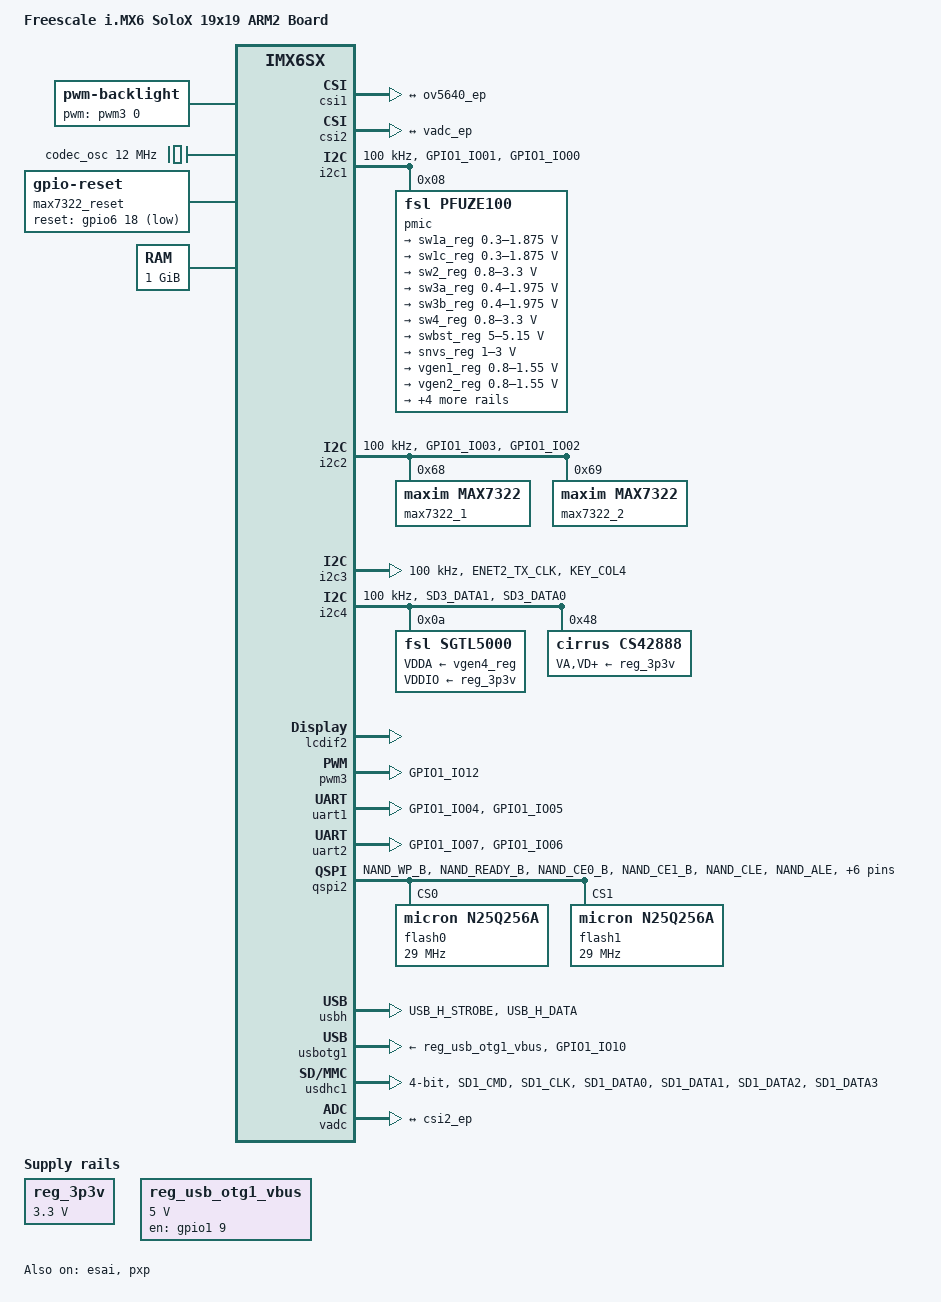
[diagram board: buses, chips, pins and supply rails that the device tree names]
/*
 * Copyright (C) 2014 Freescale Semiconductor, Inc.
 *
 * This program is free software; you can redistribute it and/or modify
 * it under the terms of the GNU General Public License version 2 as
 * published by the Free Software Foundation.
 */

/dts-v1/;

#include "imx6sx.dtsi"

/ {
	model = "Freescale i.MX6 SoloX 19x19 ARM2 Board";
	compatible = "fsl,imx6sx-19x19-arm2", "fsl,imx6sx";

	backlight {
		compatible = "pwm-backlight";
		pwms = <&pwm3 0 5000000>;
		brightness-levels = <0 4 8 16 32 64 128 255>;
		default-brightness-level = <6>;
	};

	hannstar_cabc {
		compatible = "hannstar,cabc";

		lvds0 {
			gpios = <&gpio2 16 GPIO_ACTIVE_HIGH>;
		};
	};

	clocks {
		codec_osc: codec_osc {
			#clock-cells = <0>;
			compatible = "fixed-clock";
			clock-frequency = <12000000>;
		};
	};

	max7322_reset: max7322-reset {
		compatible = "gpio-reset";
		reset-gpios = <&gpio6 18 GPIO_ACTIVE_LOW>;
		reset-delay-us = <1>;
		#reset-cells = <0>;
	};

	pxp_v4l2_out {
		compatible = "fsl,imx6sx-pxp-v4l2", "fsl,imx6sl-pxp-v4l2";
		status = "okay";
	};

	regulators {
		compatible = "simple-bus";

		reg_3p3v: 3p3v {
			compatible = "regulator-fixed";
			regulator-name = "3P3V";
			regulator-min-microvolt = <3300000>;
			regulator-max-microvolt = <3300000>;
			regulator-always-on;
		};

		reg_usb_otg1_vbus: usb_otg1_vbus {
			compatible = "regulator-fixed";
			regulator-name = "usb_otg1_vbus";
			regulator-min-microvolt = <5000000>;
			regulator-max-microvolt = <5000000>;
			gpio = <&gpio1 9 0>;
			enable-active-high;
		};
	};

	memory {
		reg = <0x80000000 0x40000000>;
	};

	sound-cs42888 {
		compatible = "fsl,imx6-sabreauto-cs42888",
				"fsl,imx-audio-cs42888";
		model = "imx-cs42888";
		esai-controller = <&esai>;
		asrc-controller = <&asrc>;
		audio-codec = <&cs42888>;
	};
};

&esai {
	pinctrl-names = "default";
	pinctrl-0 = <&pinctrl_esai_1>;
	status = "okay";
};

&csi1 {
	status = "okay";

	port {
		csi1_ep: endpoint {
			remote-endpoint = <&ov5640_ep>;
		};
	};
};

&csi2 {
	status = "okay";
	port {
		csi2_ep: endpoint {
			remote-endpoint = <&vadc_ep>;
		};
	};
};

&cpu0 {
	operating-points = <
		/* kHz    uV */
		996000  1275000
		792000  1175000
		396000  1075000
		198000	975000
		>;
	fsl,soc-operating-points = <
		/* ARM kHz      SOC uV */
		996000	1175000
		792000	1175000
		396000	1175000
		198000	1175000
	>;
	arm-supply = <&sw1a_reg>;
	soc-supply = <&sw1c_reg>;
};

&fec1 {
	pinctrl-names = "default";
	pinctrl-0 = <&pinctrl_enet1_1>;
	phy-mode = "rgmii";
	phy-handle = <&ethphy1>;
	pinctrl-assert-gpios = <&max7322_1 0 GPIO_ACTIVE_HIGH>;
	fsl,magic-packet;
	status = "disabled";

	mdio {
		#address-cells = <1>;
		#size-cells = <0>;

		ethphy0: ethernet-phy@0 {
			compatible = "ethernet-phy-ieee802.3-c22";
			reg = <0>;
		};

		ethphy1: ethernet-phy@1 {
			compatible = "ethernet-phy-ieee802.3-c22";
			reg = <1>;
		};
	};
};

&fec2 {
	pinctrl-names = "default";
	pinctrl-0 = <&pinctrl_enet2_1>;
	phy-mode = "rgmii";
	phy-handle = <&ethphy0>;
	pinctrl-assert-gpios = <&max7322_2 0 GPIO_ACTIVE_HIGH>;
	fsl,magic-packet;
	status = "disabled";
};

&i2c1 {
	clock-frequency = <100000>;
	pinctrl-names = "default";
	pinctrl-0 = <&pinctrl_i2c1_1>;
	status = "okay";

	pmic: pfuze100@08 {
		compatible = "fsl,pfuze100";
		reg = <0x08>;

		regulators {
			sw1a_reg: sw1ab {
				regulator-min-microvolt = <300000>;
				regulator-max-microvolt = <1875000>;
				regulator-boot-on;
				regulator-always-on;
				regulator-ramp-delay = <6250>;
			};

			sw1c_reg: sw1c {
				regulator-min-microvolt = <300000>;
				regulator-max-microvolt = <1875000>;
				regulator-boot-on;
				regulator-always-on;
				regulator-ramp-delay = <6250>;
			};

			sw2_reg: sw2 {
				regulator-min-microvolt = <800000>;
				regulator-max-microvolt = <3300000>;
				regulator-boot-on;
				regulator-always-on;
			};

			sw3a_reg: sw3a {
				regulator-min-microvolt = <400000>;
				regulator-max-microvolt = <1975000>;
				regulator-boot-on;
				regulator-always-on;
			};

			sw3b_reg: sw3b {
				regulator-min-microvolt = <400000>;
				regulator-max-microvolt = <1975000>;
				regulator-boot-on;
				regulator-always-on;
			};

			sw4_reg: sw4 {
				regulator-min-microvolt = <800000>;
				regulator-max-microvolt = <3300000>;
			};

			swbst_reg: swbst {
				regulator-min-microvolt = <5000000>;
				regulator-max-microvolt = <5150000>;
			};

			snvs_reg: vsnvs {
				regulator-min-microvolt = <1000000>;
				regulator-max-microvolt = <3000000>;
				regulator-boot-on;
				regulator-always-on;
			};

			vref_reg: vrefddr {
				regulator-boot-on;
				regulator-always-on;
			};

			vgen1_reg: vgen1 {
				regulator-min-microvolt = <800000>;
				regulator-max-microvolt = <1550000>;
			};

			vgen2_reg: vgen2 {
				regulator-min-microvolt = <800000>;
				regulator-max-microvolt = <1550000>;
			};

			vgen3_reg: vgen3 {
				regulator-min-microvolt = <1800000>;
				regulator-max-microvolt = <3300000>;
				regulator-always-on;
			};

			vgen4_reg: vgen4 {
				regulator-min-microvolt = <1800000>;
				regulator-max-microvolt = <3300000>;
				regulator-always-on;
			};

			vgen5_reg: vgen5 {
				regulator-min-microvolt = <1800000>;
				regulator-max-microvolt = <3300000>;
				regulator-always-on;
			};

			vgen6_reg: vgen6 {
				regulator-min-microvolt = <1800000>;
				regulator-max-microvolt = <3300000>;
				regulator-always-on;
			};
		};
	};
};

&i2c2 {
	clock-frequency = <100000>;
	pinctrl-names = "default";
	pinctrl-0 = <&pinctrl_i2c2_1>;
	status = "okay";

	max7322_1: gpio@68 {
		compatible = "maxim,max7322";
		reg = <0x68>;
		gpio-controller;
		#gpio-cells = <2>;
		resets = <&max7322_reset>;
	};

	max7322_2: gpio@69 {
		compatible = "maxim,max7322";
		reg = <0x69>;
		gpio-controller;
		#gpio-cells = <2>;
		resets = <&max7322_reset>;
	};

	ov5640: ov5640@3c {
		compatible = "ovti,ov5640";
		reg = <0x3c>;
		pinctrl-names = "default";
		pinctrl-0 = <&pinctrl_csi_1>;
		clocks = <&clks IMX6SX_CLK_CSI>;
		clock-names = "csi_mclk";
		AVDD-supply = <&vgen3_reg>;  /* 2.8v */
		DVDD-supply = <&vgen2_reg>;  /* 1.5v*/
		pwn-gpios = <&gpio3 26 1>;
		rst-gpios = <&gpio3 25 0>;
		csi_id = <0>;
		mclk = <24000000>;
		mclk_source = <0>;
		status = "disabled";
		port {
			ov5640_ep: endpoint {
				remote-endpoint = <&csi1_ep>;
			};
		};
	};
};

&i2c3 {
	clock-frequency = <100000>;
	pinctrl-names = "default";
	pinctrl-0 = <&pinctrl_i2c3_1>;
	status = "okay";
};

&i2c4 {
	clock-frequency = <100000>;
	pinctrl-names = "default";
	pinctrl-0 = <&pinctrl_i2c4_2>;
	status = "okay";

	sgtl5000: sgtl5000@0a {
		compatible = "fsl,sgtl5000";
		reg = <0x0a>;
		clocks = <&codec_osc>;
		VDDA-supply = <&vgen4_reg>;
		VDDIO-supply = <&reg_3p3v>;
	};

	cs42888: cs42888@048 {
		compatible = "cirrus,cs42888";
		reg = <0x048>;
		clocks = <&clks IMX6SX_CLK_ESAI_EXTAL>;
		clock-names = "mclk";
		VA-supply = <&reg_3p3v>;
		VD-supply = <&reg_3p3v>;
		VLS-supply = <&reg_3p3v>;
		VLC-supply = <&reg_3p3v>;
	};
};

&iomuxc {
	pinctrl-names = "default";
	pinctrl-0 = <&pinctrl_hog_1>;

	hog {
		pinctrl_hog_1: hoggrp-1 {
			fsl,pins = <
				MX6SX_PAD_SD4_DATA4__GPIO6_IO_18     0x1b0b0
				MX6SX_PAD_KEY_ROW1__GPIO2_IO_16      0x1b0b0
				MX6SX_PAD_GPIO1_IO13__WDOG1_WDOG_ANY 0x10b0
			 >;
		};
	};
};

&lcdif1 {
	pinctrl-names = "default";
	pinctrl-0 = <&pinctrl_lcdif_dat_0
		     &pinctrl_lcdif_ctrl_0>;
	display = <&display0>;
	status = "disabled";

	display0: display {
		bits-per-pixel = <16>;
		bus-width = <24>;

		display-timings {
			native-mode = <&timing0>;
			timing0: timing0 {
				clock-frequency = <33500000>;
				hactive = <800>;
				vactive = <480>;
				hback-porch = <89>;
				hfront-porch = <164>;
				vback-porch = <23>;
				vfront-porch = <10>;
				hsync-len = <10>;
				vsync-len = <10>;
				hsync-active = <0>;
				vsync-active = <0>;
				de-active = <1>;
				pixelclk-active = <0>;
			};
		};
	};
};

&lcdif2 {
	display = <&display1>;
	disp-dev = "ldb";
	status = "okay";

	display1: display {
		bits-per-pixel = <16>;
		bus-width = <18>;
	};
};

&pwm3 {
	pinctrl-names = "default";
	pinctrl-0 = <&pinctrl_pwm3_0>;
	status = "okay";
};

&pxp {
	status = "okay";
};

&sai1 {
	pinctrl-names = "default";
	pinctrl-0 = <&pinctrl_sai1_1>;
	status = "disabled";
};

&uart1 {
	pinctrl-names = "default";
	pinctrl-0 = <&pinctrl_uart1_1>;
	status = "okay";
};

&uart2 {
	pinctrl-names = "default";
	pinctrl-0 = <&pinctrl_uart2_1>;
	status = "okay";
};

&qspi2 {
	pinctrl-names = "default";
	pinctrl-0 = <&pinctrl_qspi2_1>;
	status = "okay";
	ddrsmp=<2>;

	flash0: n25q256a@0 {
		#address-cells = <1>;
		#size-cells = <1>;
		compatible = "micron,n25q256a";
		spi-max-frequency = <29000000>;
		reg = <0>;
	};

	flash1: n25q256a@1 {
		#address-cells = <1>;
		#size-cells = <1>;
		compatible = "micron,n25q256a";
		spi-max-frequency = <29000000>;
		reg = <1>;
	};
};

&usbh {
	pinctrl-names = "idle", "active";
	pinctrl-0 = <&pinctrl_usbh_1>;
	pinctrl-1 = <&pinctrl_usbh_2>;
	osc-clkgate-delay = <0x3>;
	pad-supply = <&vgen1_reg>;
	status = "okay";
};

&usbotg1 {
	vbus-supply = <&reg_usb_otg1_vbus>;
	pinctrl-names = "default";
	pinctrl-0 = <&pinctrl_usbotg1_1>;
	disable-over-current;
	srp-disable;
	hnp-disable;
	adp-disable;
	status = "okay";
};

&usdhc1 {
	pinctrl-names = "default";
	pinctrl-0 = <&pinctrl_usdhc1_1>;
	bus-width = <4>;
	keep-power-in-suspend;
	enable-sdio-wakeup;
	no-1-8-v;
	status = "okay";
};

&weim {
	pinctrl-names = "default";
	pinctrl-0 = <&pinctrl_weim_nor_1 &pinctrl_weim_cs0_1>;
	#address-cells = <2>;
	#size-cells = <1>;
	ranges = <0 0 0x50000000 0x08000000>;
	status = "disabled"; /* pin conflict with qspi, nand and lcd1 */

	nor@0,0 {
		compatible = "cfi-flash";
		reg = <0 0 0x02000000>;
		#address-cells = <1>;
		#size-cells = <1>;
		bank-width = <2>;
		fsl,weim-cs-timing = <0x00610081 0x00000001 0x1c022000
				0x0000c000 0x1404a38e 0x00000000>;
	};
};

&vadc {
	vadc_in = <0>;
	csi_id = <1>;
	status = "okay";
	port {
		vadc_ep: endpoint {
			remote-endpoint = <&csi2_ep>;
		};
	};
};

&iomuxc {
	audmux {
		pinctrl_audmux_1: audmuxgrp-1 {
			fsl,pins = <
				MX6SX_PAD_CSI_DATA00__AUDMUX_AUD6_TXC   0x130B0
				MX6SX_PAD_CSI_DATA01__AUDMUX_AUD6_TXFS  0x130B0
				MX6SX_PAD_CSI_HSYNC__AUDMUX_AUD6_TXD    0x120B0
				MX6SX_PAD_CSI_VSYNC__AUDMUX_AUD6_RXD    0x130B0
				MX6SX_PAD_CSI_PIXCLK__AUDMUX_MCLK       0x130B0
			>;
		};

		pinctrl_audmux_2: audmuxgrp-2 {
			fsl,pins = <
				MX6SX_PAD_ENET1_COL__AUDMUX_AUD4_TXC 	 0x130b0
				MX6SX_PAD_ENET1_CRS__AUDMUX_AUD4_TXD     0x130b0
				MX6SX_PAD_ENET1_RX_CLK__AUDMUX_AUD4_TXFS 0x130b0
				MX6SX_PAD_ENET1_TX_CLK__AUDMUX_AUD4_RXD  0x130b0
			>;
		};
	};

	ecspi4 {
		pinctrl_ecspi4_cs_1: ecspi4_cs_grp-1 {
			fsl,pins = <
				MX6SX_PAD_SD3_DATA2__GPIO7_IO_4  0x80000000
			>;
		};

		pinctrl_ecspi4_1: ecspi4grp-1 {
			fsl,pins = <
				MX6SX_PAD_SD3_DATA3__ECSPI4_MISO 0x100b1
				MX6SX_PAD_SD3_CMD__ECSPI4_MOSI   0x100b1
				MX6SX_PAD_SD3_CLK__ECSPI4_SCLK   0x100b1
			>;
		};
	};

	canfd1 {
		pinctrl_canfd1_1: canfd1grp-1 {
			fsl,pins = <
				MX6SX_PAD_QSPI1B_DQS__CANFD_TX1		0x1b0b0
				MX6SX_PAD_QSPI1A_SS1_B__CANFD_RX1	0x1b0b0
			>;
		};
	};

	canfd2 {
		pinctrl_canfd2_1: canfd2grp-1 {
			fsl,pins = <
				MX6SX_PAD_QSPI1B_SS1_B__CANFD_RX2	0x1b0b0
				MX6SX_PAD_QSPI1A_DQS__CANFD_TX2		0x1b0b0
			>;
		};
	};

	csi {
		pinctrl_csi_0: csigrp-0 {
			fsl,pins = <
				MX6SX_PAD_LCD1_DATA07__CSI1_MCLK	0x110b0
				MX6SX_PAD_LCD1_DATA06__CSI1_PIXCLK	0x110b0
				MX6SX_PAD_LCD1_DATA04__CSI1_VSYNC	0x110b0
				MX6SX_PAD_LCD1_DATA05__CSI1_HSYNC	0x110b0
				MX6SX_PAD_LCD1_DATA17__CSI1_DATA_0	0x110b0
				MX6SX_PAD_LCD1_DATA16__CSI1_DATA_1	0x110b0
				MX6SX_PAD_LCD1_DATA15__CSI1_DATA_2	0x110b0
				MX6SX_PAD_LCD1_DATA14__CSI1_DATA_3	0x110b0
				MX6SX_PAD_LCD1_DATA13__CSI1_DATA_4	0x110b0
				MX6SX_PAD_LCD1_DATA12__CSI1_DATA_5	0x110b0
				MX6SX_PAD_LCD1_DATA11__CSI1_DATA_6	0x110b0
				MX6SX_PAD_LCD1_DATA10__CSI1_DATA_7	0x110b0
				MX6SX_PAD_LCD1_DATA09__CSI1_DATA_8	0x110b0
				MX6SX_PAD_LCD1_DATA08__CSI1_DATA_9	0x110b0
				MX6SX_PAD_LCD1_RESET__GPIO3_IO_27	0x80000000
				MX6SX_PAD_LCD1_VSYNC__GPIO3_IO_28	0x80000000
			>;
		};

		pinctrl_csi_1: csigrp-1 {
			fsl,pins = <
				MX6SX_PAD_CSI_MCLK__CSI1_MCLK		0x110b0
				MX6SX_PAD_CSI_PIXCLK__CSI1_PIXCLK	0x110b0
				MX6SX_PAD_CSI_VSYNC__CSI1_VSYNC		0x110b0
				MX6SX_PAD_CSI_HSYNC__CSI1_HSYNC		0x110b0
				MX6SX_PAD_CSI_DATA00__CSI1_DATA_2	0x110b0
				MX6SX_PAD_CSI_DATA01__CSI1_DATA_3	0x110b0
				MX6SX_PAD_CSI_DATA02__CSI1_DATA_4	0x110b0
				MX6SX_PAD_CSI_DATA03__CSI1_DATA_5	0x110b0
				MX6SX_PAD_CSI_DATA04__CSI1_DATA_6	0x110b0
				MX6SX_PAD_CSI_DATA05__CSI1_DATA_7	0x110b0
				MX6SX_PAD_CSI_DATA06__CSI1_DATA_8	0x110b0
				MX6SX_PAD_CSI_DATA07__CSI1_DATA_9	0x110b0

				MX6SX_PAD_LCD1_ENABLE__GPIO3_IO_25	0x80000000
				MX6SX_PAD_LCD1_HSYNC__GPIO3_IO_26	0x80000000
			>;
		};
	};

	enet1 {
		pinctrl_enet1_1: enet1grp-1 {
			fsl,pins = <
				MX6SX_PAD_ENET1_MDIO__ENET1_MDIO        0xa0b1
				MX6SX_PAD_ENET1_MDC__ENET1_MDC          0xa0b1
				MX6SX_PAD_RGMII1_TXC__ENET1_RGMII_TXC   0xa0b9
				MX6SX_PAD_RGMII1_TD0__ENET1_TX_DATA_0   0xa0b1
				MX6SX_PAD_RGMII1_TD1__ENET1_TX_DATA_1   0xa0b1
				MX6SX_PAD_RGMII1_TD2__ENET1_TX_DATA_2   0xa0b1
				MX6SX_PAD_RGMII1_TD3__ENET1_TX_DATA_3   0xa0b1
				MX6SX_PAD_RGMII1_TX_CTL__ENET1_TX_EN    0xa0b1
				MX6SX_PAD_RGMII1_RXC__ENET1_RX_CLK      0x3081
				MX6SX_PAD_RGMII1_RD0__ENET1_RX_DATA_0   0x3081
				MX6SX_PAD_RGMII1_RD1__ENET1_RX_DATA_1   0x3081
				MX6SX_PAD_RGMII1_RD2__ENET1_RX_DATA_2   0x3081
				MX6SX_PAD_RGMII1_RD3__ENET1_RX_DATA_3   0x3081
				MX6SX_PAD_RGMII1_RX_CTL__ENET1_RX_EN    0x3081
			>;
		};

		pinctrl_enet1_clkout_1: enet1_clkoutgrp-1 {
			fsl,pins = <
				MX6SX_PAD_ENET2_RX_CLK__ENET2_REF_CLK_25M	0x91
			>;
		};
	};

	enet2 {
		pinctrl_enet2_1: enet2grp-1 {
			fsl,pins = <
				MX6SX_PAD_RGMII2_TXC__ENET2_RGMII_TXC   0xa0b9
				MX6SX_PAD_RGMII2_TD0__ENET2_TX_DATA_0   0xa0b1
				MX6SX_PAD_RGMII2_TD1__ENET2_TX_DATA_1   0xa0b1
				MX6SX_PAD_RGMII2_TD2__ENET2_TX_DATA_2   0xa0b1
				MX6SX_PAD_RGMII2_TD3__ENET2_TX_DATA_3   0xa0b1
				MX6SX_PAD_RGMII2_TX_CTL__ENET2_TX_EN    0xa0b1
				MX6SX_PAD_RGMII2_RXC__ENET2_RX_CLK      0x3081
				MX6SX_PAD_RGMII2_RD0__ENET2_RX_DATA_0   0x3081
				MX6SX_PAD_RGMII2_RD1__ENET2_RX_DATA_1   0x3081
				MX6SX_PAD_RGMII2_RD2__ENET2_RX_DATA_2   0x3081
				MX6SX_PAD_RGMII2_RD3__ENET2_RX_DATA_3   0x3081
				MX6SX_PAD_RGMII2_RX_CTL__ENET2_RX_EN    0x3081
			>;
		};
	};

	esai {
		pinctrl_esai_1: esaigrp-1 {
			fsl,pins = <
				MX6SX_PAD_CSI_MCLK__ESAI_TX_HF_CLK  0x1b030
				MX6SX_PAD_CSI_DATA00__ESAI_TX_CLK   0x1b030
				MX6SX_PAD_CSI_DATA01__ESAI_TX_FS    0x1b030
				MX6SX_PAD_CSI_HSYNC__ESAI_TX0       0x1b030
				MX6SX_PAD_CSI_DATA04__ESAI_TX1      0x1b030
				MX6SX_PAD_CSI_DATA06__ESAI_TX2_RX3  0x1b030
				MX6SX_PAD_CSI_DATA07__ESAI_TX3_RX2  0x1b030
				MX6SX_PAD_CSI_DATA02__ESAI_RX_CLK   0x1b030
				MX6SX_PAD_CSI_DATA03__ESAI_RX_FS    0x1b030
				MX6SX_PAD_CSI_VSYNC__ESAI_TX5_RX0   0x1b030
				MX6SX_PAD_CSI_DATA05__ESAI_TX4_RX1  0x1b030
			>;
		};
	};

	flexcan1 {
		pinctrl_flexcan1_1: flexcan1grp-1 {
			fsl,pins = <
				MX6SX_PAD_QSPI1B_DQS__CAN1_TX	0x1b0b0
				MX6SX_PAD_QSPI1A_SS1_B__CAN1_RX	0x1b0b0
			>;
		};
	};

	flexcan2 {
		pinctrl_flexcan2_1: flexcan2grp-1 {
			fsl,pins = <
				MX6SX_PAD_QSPI1B_SS1_B__CAN2_RX 0x1b0b0
				MX6SX_PAD_QSPI1A_DQS__CAN2_TX	0x1b0b0
			>;
		};
	};

	gpmi-nand {
		pinctrl_gpmi_nand_1: gpmi-nand-1 {
			fsl,pins = <
				MX6SX_PAD_NAND_CLE__RAWNAND_CLE         0xb0b1
				MX6SX_PAD_NAND_ALE__RAWNAND_ALE         0xb0b1
				MX6SX_PAD_NAND_WP_B__RAWNAND_WP_B       0xb0b1
				MX6SX_PAD_NAND_READY_B__RAWNAND_READY_B 0xb000
				MX6SX_PAD_NAND_CE0_B__RAWNAND_CE0_B     0xb0b1
				MX6SX_PAD_NAND_CE1_B__RAWNAND_CE1_B     0xb0b1
				MX6SX_PAD_NAND_RE_B__RAWNAND_RE_B       0xb0b1
				MX6SX_PAD_NAND_WE_B__RAWNAND_WE_B       0xb0b1
				MX6SX_PAD_NAND_DATA00__RAWNAND_DATA00   0xb0b1
				MX6SX_PAD_NAND_DATA01__RAWNAND_DATA01   0xb0b1
				MX6SX_PAD_NAND_DATA02__RAWNAND_DATA02   0xb0b1
				MX6SX_PAD_NAND_DATA03__RAWNAND_DATA03   0xb0b1
				MX6SX_PAD_NAND_DATA04__RAWNAND_DATA04   0xb0b1
				MX6SX_PAD_NAND_DATA05__RAWNAND_DATA05   0xb0b1
				MX6SX_PAD_NAND_DATA06__RAWNAND_DATA06   0xb0b1
				MX6SX_PAD_NAND_DATA07__RAWNAND_DATA07   0xb0b1
			>;
		};
	};

	i2c1 {
		pinctrl_i2c1_1: i2c1grp-1 {
			fsl,pins = <
				MX6SX_PAD_GPIO1_IO01__I2C1_SDA          0x4001b8b1
				MX6SX_PAD_GPIO1_IO00__I2C1_SCL          0x4001b8b1
			>;
		};

		pinctrl_i2c1_2: i2c1grp-2 {
			fsl,pins = <
				MX6SX_PAD_CSI_DATA01__I2C1_SDA          0x4001b8b1
				MX6SX_PAD_CSI_DATA00__I2C1_SCL          0x4001b8b1
			>;
		};
	};

	i2c2 {
		pinctrl_i2c2_1: i2c2grp-1 {
			fsl,pins = <
				MX6SX_PAD_GPIO1_IO03__I2C2_SDA          0x4001b8b1
				MX6SX_PAD_GPIO1_IO02__I2C2_SCL          0x4001b8b1
			>;
		};
	};

	i2c3 {
		pinctrl_i2c3_1: i2c3grp-1 {
			fsl,pins = <
				MX6SX_PAD_ENET2_TX_CLK__I2C3_SDA        0x4001b8b1
				MX6SX_PAD_KEY_COL4__I2C3_SCL            0x4001b8b1
			>;
		};

		pinctrl_i2c3_2: i2c3grp-2 {
			fsl,pins = <
				MX6SX_PAD_KEY_ROW4__I2C3_SDA            0x4001b8b1
				MX6SX_PAD_KEY_COL4__I2C3_SCL            0x4001b8b1
			>;
		};
	};

	i2c4 {
		pinctrl_i2c4_1: i2c4grp-1 {
			fsl,pins = <
				MX6SX_PAD_CSI_DATA07__I2C4_SDA          0x4001b8b1
				MX6SX_PAD_CSI_DATA06__I2C4_SCL          0x4001b8b1
			>;
		};
		pinctrl_i2c4_2: i2c4grp-2 {
			fsl,pins = <
				MX6SX_PAD_SD3_DATA1__I2C4_SDA           0x4001b8b1
				MX6SX_PAD_SD3_DATA0__I2C4_SCL           0x4001b8b1
			>;
		};
	};

	lcdif1 {
		pinctrl_lcdif_dat_0: lcdifdatgrp-0 {
			fsl,pins = <
				MX6SX_PAD_LCD1_DATA00__LCDIF1_DATA_0 0x4001b0b0
				MX6SX_PAD_LCD1_DATA01__LCDIF1_DATA_1 0x4001b0b0
				MX6SX_PAD_LCD1_DATA02__LCDIF1_DATA_2 0x4001b0b0
				MX6SX_PAD_LCD1_DATA03__LCDIF1_DATA_3 0x4001b0b0
				MX6SX_PAD_LCD1_DATA04__LCDIF1_DATA_4 0x4001b0b0
				MX6SX_PAD_LCD1_DATA05__LCDIF1_DATA_5 0x4001b0b0
				MX6SX_PAD_LCD1_DATA06__LCDIF1_DATA_6 0x4001b0b0
				MX6SX_PAD_LCD1_DATA07__LCDIF1_DATA_7 0x4001b0b0
				MX6SX_PAD_LCD1_DATA08__LCDIF1_DATA_8 0x4001b0b0
				MX6SX_PAD_LCD1_DATA09__LCDIF1_DATA_9 0x4001b0b0
				MX6SX_PAD_LCD1_DATA10__LCDIF1_DATA_10 0x4001b0b0
				MX6SX_PAD_LCD1_DATA11__LCDIF1_DATA_11 0x4001b0b0
				MX6SX_PAD_LCD1_DATA12__LCDIF1_DATA_12 0x4001b0b0
				MX6SX_PAD_LCD1_DATA13__LCDIF1_DATA_13 0x4001b0b0
				MX6SX_PAD_LCD1_DATA14__LCDIF1_DATA_14 0x4001b0b0
				MX6SX_PAD_LCD1_DATA15__LCDIF1_DATA_15 0x4001b0b0
				MX6SX_PAD_LCD1_DATA16__LCDIF1_DATA_16 0x4001b0b0
				MX6SX_PAD_LCD1_DATA17__LCDIF1_DATA_17 0x4001b0b0
				MX6SX_PAD_LCD1_DATA18__LCDIF1_DATA_18 0x4001b0b0
				MX6SX_PAD_LCD1_DATA19__LCDIF1_DATA_19 0x4001b0b0
				MX6SX_PAD_LCD1_DATA20__LCDIF1_DATA_20 0x4001b0b0
				MX6SX_PAD_LCD1_DATA21__LCDIF1_DATA_21 0x4001b0b0
				MX6SX_PAD_LCD1_DATA22__LCDIF1_DATA_22 0x4001b0b0
				MX6SX_PAD_LCD1_DATA23__LCDIF1_DATA_23 0x4001b0b0
			>;
		};

		pinctrl_lcdif_ctrl_0: lcdifctrlgrp-0 {
			fsl,pins = <
				MX6SX_PAD_LCD1_CLK__LCDIF1_CLK	0x4001b0b0
				MX6SX_PAD_LCD1_ENABLE__LCDIF1_ENABLE 0x4001b0b0
				MX6SX_PAD_LCD1_VSYNC__LCDIF1_VSYNC 0x4001b0b0
				MX6SX_PAD_LCD1_HSYNC__LCDIF1_HSYNC 0x4001b0b0
				MX6SX_PAD_LCD1_RESET__GPIO3_IO_27 0x4001b0b0
			>;
		};
	};

	mlb {
		pinctrl_mlb_1: mlbgrp-1 {
			fsl,pins = <
				MX6SX_PAD_SD2_DATA3__MLB_DATA	0x31
				MX6SX_PAD_SD2_CLK__MLB_SIG	0x31
				MX6SX_PAD_SD2_CMD__MLB_CLK	0x31
			>;
		};
	};

	mqs {
		pinctrl_mqs_1: mqsgrp-1 {
			fsl,pins = <
				MX6SX_PAD_SD2_CLK__MQS_RIGHT 0x80000000
				MX6SX_PAD_SD2_CMD__MQS_LEFT 0x80000000
			>;
		};
	};

	pwm3 {
		pinctrl_pwm3_0: pwm3grp-0 {
			fsl,pins = <
				MX6SX_PAD_GPIO1_IO12__PWM3_OUT 0x110b0
			>;
		};

		pinctrl_pwm3_1: pwm3grp-1 {
			fsl,pins = <
				MX6SX_PAD_SD1_DATA2__PWM3_OUT 0x110b0
			>;
		};
	};

	pwm4 {
		pinctrl_pwm4_0: pwm4grp-0 {
			fsl,pins = <
				MX6SX_PAD_SD1_DATA1__PWM4_OUT 0x110b0
			>;
		};
	};

	qspi2 {
		pinctrl_qspi2_1: qspi2grp_1 {
			fsl,pins = <
				MX6SX_PAD_NAND_WP_B__QSPI2_A_DATA_0     0x70a1
				MX6SX_PAD_NAND_READY_B__QSPI2_A_DATA_1  0x70a1
				MX6SX_PAD_NAND_CE0_B__QSPI2_A_DATA_2    0x70a1
				MX6SX_PAD_NAND_CE1_B__QSPI2_A_DATA_3    0x70a1
				MX6SX_PAD_NAND_CLE__QSPI2_A_SCLK        0x70a1
				MX6SX_PAD_NAND_ALE__QSPI2_A_SS0_B       0x70a1
				MX6SX_PAD_NAND_DATA01__QSPI2_B_DATA_0   0x70a1
				MX6SX_PAD_NAND_DATA00__QSPI2_B_DATA_1   0x70a1
				MX6SX_PAD_NAND_WE_B__QSPI2_B_DATA_2     0x70a1
				MX6SX_PAD_NAND_RE_B__QSPI2_B_DATA_3     0x70a1
				MX6SX_PAD_NAND_DATA02__QSPI2_B_SCLK     0x70a1
				MX6SX_PAD_NAND_DATA03__QSPI2_B_SS0_B    0x70a1
			>;
		};
	};

	sai1 {
		pinctrl_sai1_1: sai1grp_1 {
			fsl,pins = <
				MX6SX_PAD_CSI_DATA00__SAI1_TX_BCLK     0x1b030
				MX6SX_PAD_CSI_DATA01__SAI1_TX_SYNC     0x1b030
				MX6SX_PAD_CSI_DATA02__SAI1_RX_BCLK     0x1b030
				MX6SX_PAD_CSI_DATA03__SAI1_RX_SYNC     0x1b030
				MX6SX_PAD_CSI_HSYNC__SAI1_TX_DATA_0    0x1b030
				MX6SX_PAD_CSI_VSYNC__SAI1_RX_DATA_0    0x1b030
			>;
		};

		pinctrl_sai1_2: sai1grp_2 {
			fsl,pins = <
				MX6SX_PAD_CSI_DATA00__SAI1_TX_BCLK     0x130B0
				MX6SX_PAD_CSI_DATA01__SAI1_TX_SYNC     0x130B0
				MX6SX_PAD_CSI_HSYNC__SAI1_TX_DATA_0    0x120B0
				MX6SX_PAD_CSI_VSYNC__SAI1_RX_DATA_0    0x130B0
				MX6SX_PAD_CSI_PIXCLK__AUDMUX_MCLK      0x130B0
			>;
		};
	};

	sai2 {
		pinctrl_sai2_1: sai2grp_1 {
			fsl,pins = <
				MX6SX_PAD_KEY_COL0__SAI2_TX_BCLK       0x1b030
				MX6SX_PAD_KEY_COL1__SAI2_TX_SYNC       0x1b030
				MX6SX_PAD_KEY_ROW0__SAI2_TX_DATA_0     0x1b030
				MX6SX_PAD_KEY_ROW1__SAI2_RX_DATA_0     0x1b030
			>;
		};
	};


	spdif {
		pinctrl_spdif_1: spdifgrp-1 {
			fsl,pins = <
				MX6SX_PAD_ENET1_RX_CLK__SPDIF_OUT	0x1b0b0
				MX6SX_PAD_ENET2_COL__SPDIF_IN		0x1b0b0
			>;
		};

		pinctrl_spdif_2: spdifgrp-2 {
			fsl,pins = <
				MX6SX_PAD_SD4_DATA4__SPDIF_OUT		0x1b0b0
			>;
		};
	};

	uart1 {
		pinctrl_uart1_1: uart1grp-1 {
			fsl,pins = <
				MX6SX_PAD_GPIO1_IO04__UART1_TX 0x1b0b1
				MX6SX_PAD_GPIO1_IO05__UART1_RX 0x1b0b1
			>;
		};

		pinctrl_uart1_2: uart1grp-2 {
			fsl,pins = <
				MX6SX_PAD_ENET2_COL__UART1_RX 0x1b0b1
				MX6SX_PAD_ENET2_CRS__UART1_TX 0x1b0b1
			>;
		};
	};

	uart2 {
		pinctrl_uart2_1: uart2grp-1 {
			fsl,pins = <
				MX6SX_PAD_GPIO1_IO07__UART2_RX 0x1b0b1
				MX6SX_PAD_GPIO1_IO06__UART2_TX 0x1b0b1
			>;
		};

		pinctrl_uart2_2: uart2grp-2 {
			fsl,pins = <
				MX6SX_PAD_SD1_DATA0__UART2_RX 0x1b0b1
				MX6SX_PAD_SD1_DATA1__UART2_TX 0x1b0b1
			>;
		};
	};

	uart5 {
		pinctrl_uart5_1: uart5grp-1 {
			fsl,pins = <
				MX6SX_PAD_KEY_ROW3__UART5_RX    0x1b0b1
				MX6SX_PAD_KEY_COL3__UART5_TX    0x1b0b1
				MX6SX_PAD_KEY_ROW2__UART5_CTS_B 0x1b0b1
				MX6SX_PAD_KEY_COL2__UART5_RTS_B 0x1b0b1
			>;
		};

		pinctrl_uart5dte_1: uart5dtegrp-1 {
			fsl,pins = <
				MX6SX_PAD_KEY_ROW3__UART5_TX	0x1b0b1
				MX6SX_PAD_KEY_COL3__UART5_RX    0x1b0b1
				MX6SX_PAD_KEY_ROW2__UART5_RTS_B	0x1b0b1
				MX6SX_PAD_KEY_COL2__UART5_CTS_B	0x1b0b1
			>;
		};
	};

	usbh {
		pinctrl_usbh_1: usbhgrp-1 {
			fsl,pins = <
				MX6SX_PAD_USB_H_STROBE__USB_H_STROBE	0x40013030
				MX6SX_PAD_USB_H_DATA__USB_H_DATA 0x40013030
			>;
		};

		pinctrl_usbh_2: usbhgrp-2 {
			fsl,pins = <
				MX6SX_PAD_USB_H_STROBE__USB_H_STROBE	0x40017030
			>;
		};
	};

	usbotg1 {
		pinctrl_usbotg1_1: usbotg1grp-1 {
			fsl,pins = <
				MX6SX_PAD_GPIO1_IO10__ANATOP_OTG1_ID 0x17059
			>;
		};

		pinctrl_usbotg1_2: usbotg1grp-2 {
			fsl,pins = <
				MX6SX_PAD_ENET2_COL__ANATOP_OTG1_ID 0x17059
			>;
		};

		pinctrl_usbotg1_3: usbotg1grp-3 {
			fsl,pins = <
				MX6SX_PAD_QSPI1A_DATA1__ANATOP_OTG1_ID 0x17059
			>;
		};
	};

	usbotg2 {
		pinctrl_usbotg2_1: usbotg2grp-1 {
			fsl,pins = <
				MX6SX_PAD_GPIO1_IO13__ANATOP_OTG2_ID 0x17059
			>;
		};

		pinctrl_usbotg2_2: usbotg2grp-2 {
			fsl,pins = <
				MX6SX_PAD_ENET2_CRS__ANATOP_OTG2_ID 0x17059
			>;
		};

		pinctrl_usbotg2_3: usbotg2grp-3 {
			fsl,pins = <
				MX6SX_PAD_QSPI1A_SCLK__ANATOP_OTG2_ID 0x17059
			>;
		};
	};

	usdhc1 {
		pinctrl_usdhc1_1: usdhc1grp-1 {
			fsl,pins = <
				MX6SX_PAD_SD1_CMD__USDHC1_CMD     0x17059
				MX6SX_PAD_SD1_CLK__USDHC1_CLK     0x10059
				MX6SX_PAD_SD1_DATA0__USDHC1_DATA0 0x17059
				MX6SX_PAD_SD1_DATA1__USDHC1_DATA1 0x17059
				MX6SX_PAD_SD1_DATA2__USDHC1_DATA2 0x17059
				MX6SX_PAD_SD1_DATA3__USDHC1_DATA3 0x17059
			>;
		};
	};

	usdhc2 {
		pinctrl_usdhc2_1: usdhc2grp-1 {
			fsl,pins = <
				MX6SX_PAD_SD2_CMD__USDHC2_CMD     0x17059
				MX6SX_PAD_SD2_CLK__USDHC2_CLK     0x10059
				MX6SX_PAD_SD2_DATA0__USDHC2_DATA0 0x17059
				MX6SX_PAD_SD2_DATA1__USDHC2_DATA1 0x17059
				MX6SX_PAD_SD2_DATA2__USDHC2_DATA2 0x17059
				MX6SX_PAD_SD2_DATA3__USDHC2_DATA3 0x17059
			>;
		};
	};

	usdhc3 {
		pinctrl_usdhc3_1: usdhc3grp-1 {
			fsl,pins = <
				MX6SX_PAD_SD3_CMD__USDHC3_CMD	  0x17059
				MX6SX_PAD_SD3_CLK__USDHC3_CLK	  0x10059
				MX6SX_PAD_SD3_DATA0__USDHC3_DATA0 0x17059
				MX6SX_PAD_SD3_DATA1__USDHC3_DATA1 0x17059
				MX6SX_PAD_SD3_DATA2__USDHC3_DATA2 0x17059
				MX6SX_PAD_SD3_DATA3__USDHC3_DATA3 0x17059
				MX6SX_PAD_SD3_DATA4__USDHC3_DATA4 0x17059
				MX6SX_PAD_SD3_DATA5__USDHC3_DATA5 0x17059
				MX6SX_PAD_SD3_DATA6__USDHC3_DATA6 0x17059
				MX6SX_PAD_SD3_DATA7__USDHC3_DATA7 0x17059
			>;
		};

		pinctrl_usdhc3_1_100mhz: usdhc3grp-1-100mhz {
			fsl,pins = <
				MX6SX_PAD_SD3_CMD__USDHC3_CMD	  0x170b9
				MX6SX_PAD_SD3_CLK__USDHC3_CLK	  0x100b9
				MX6SX_PAD_SD3_DATA0__USDHC3_DATA0 0x170b9
				MX6SX_PAD_SD3_DATA1__USDHC3_DATA1 0x170b9
				MX6SX_PAD_SD3_DATA2__USDHC3_DATA2 0x170b9
				MX6SX_PAD_SD3_DATA3__USDHC3_DATA3 0x170b9
				MX6SX_PAD_SD3_DATA4__USDHC3_DATA4 0x170b9
				MX6SX_PAD_SD3_DATA5__USDHC3_DATA5 0x170b9
				MX6SX_PAD_SD3_DATA6__USDHC3_DATA6 0x170b9
				MX6SX_PAD_SD3_DATA7__USDHC3_DATA7 0x170b9
			>;
		};

		pinctrl_usdhc3_1_200mhz: usdhc3grp-1-200mhz {
			fsl,pins = <
				MX6SX_PAD_SD3_CMD__USDHC3_CMD	  0x170f9
				MX6SX_PAD_SD3_CLK__USDHC3_CLK	  0x100f9
				MX6SX_PAD_SD3_DATA0__USDHC3_DATA0 0x170f9
				MX6SX_PAD_SD3_DATA1__USDHC3_DATA1 0x170f9
				MX6SX_PAD_SD3_DATA2__USDHC3_DATA2 0x170f9
				MX6SX_PAD_SD3_DATA3__USDHC3_DATA3 0x170f9
				MX6SX_PAD_SD3_DATA4__USDHC3_DATA4 0x170f9
				MX6SX_PAD_SD3_DATA5__USDHC3_DATA5 0x170f9
				MX6SX_PAD_SD3_DATA6__USDHC3_DATA6 0x170f9
				MX6SX_PAD_SD3_DATA7__USDHC3_DATA7 0x170f9
			>;
		};

	};

	usdhc4 {
			pinctrl_usdhc4_1: usdhc4grp-1 {
				fsl,pins = <
					MX6SX_PAD_SD4_CMD__USDHC4_CMD     0x17059
					MX6SX_PAD_SD4_CLK__USDHC4_CLK     0x10059
					MX6SX_PAD_SD4_DATA0__USDHC4_DATA0 0x17059
					MX6SX_PAD_SD4_DATA1__USDHC4_DATA1 0x17059
					MX6SX_PAD_SD4_DATA2__USDHC4_DATA2 0x17059
					MX6SX_PAD_SD4_DATA3__USDHC4_DATA3 0x17059
					MX6SX_PAD_SD4_DATA4__USDHC4_DATA4 0x17059
					MX6SX_PAD_SD4_DATA5__USDHC4_DATA5 0x17059
					MX6SX_PAD_SD4_DATA6__USDHC4_DATA6 0x17059
					MX6SX_PAD_SD4_DATA7__USDHC4_DATA7 0x17059
				>;
			};

			pinctrl_usdhc4_1_100mhz: usdhc4grp-1-100mhz {
				fsl,pins = <
					MX6SX_PAD_SD4_CMD__USDHC4_CMD     0x170b9
					MX6SX_PAD_SD4_CLK__USDHC4_CLK     0x100b9
					MX6SX_PAD_SD4_DATA0__USDHC4_DATA0 0x170b9
					MX6SX_PAD_SD4_DATA1__USDHC4_DATA1 0x170b9
					MX6SX_PAD_SD4_DATA2__USDHC4_DATA2 0x170b9
					MX6SX_PAD_SD4_DATA3__USDHC4_DATA3 0x170b9
					MX6SX_PAD_SD4_DATA4__USDHC4_DATA4 0x170b9
					MX6SX_PAD_SD4_DATA5__USDHC4_DATA5 0x170b9
					MX6SX_PAD_SD4_DATA6__USDHC4_DATA6 0x170b9
					MX6SX_PAD_SD4_DATA7__USDHC4_DATA7 0x170b9
				>;
			};

			pinctrl_usdhc4_1_200mhz: usdhc4grp-1-200mhz {
				fsl,pins = <
					MX6SX_PAD_SD4_CMD__USDHC4_CMD     0x170f9
					MX6SX_PAD_SD4_CLK__USDHC4_CLK     0x100f9
					MX6SX_PAD_SD4_DATA0__USDHC4_DATA0 0x170f9
					MX6SX_PAD_SD4_DATA1__USDHC4_DATA1 0x170f9
					MX6SX_PAD_SD4_DATA2__USDHC4_DATA2 0x170f9
					MX6SX_PAD_SD4_DATA3__USDHC4_DATA3 0x170f9
					MX6SX_PAD_SD4_DATA4__USDHC4_DATA4 0x170f9
					MX6SX_PAD_SD4_DATA5__USDHC4_DATA5 0x170f9
					MX6SX_PAD_SD4_DATA6__USDHC4_DATA6 0x170f9
					MX6SX_PAD_SD4_DATA7__USDHC4_DATA7 0x170f9
				>;
			};

			pinctrl_usdhc4_2: usdhc4grp-2 {
				fsl,pins = <
					MX6SX_PAD_SD4_CMD__USDHC4_CMD     0x17059
					MX6SX_PAD_SD4_CLK__USDHC4_CLK     0x10059
					MX6SX_PAD_SD4_DATA0__USDHC4_DATA0 0x17059
					MX6SX_PAD_SD4_DATA1__USDHC4_DATA1 0x17059
					MX6SX_PAD_SD4_DATA2__USDHC4_DATA2 0x17059
					MX6SX_PAD_SD4_DATA3__USDHC4_DATA3 0x17059
				>;
			};

	};

	weim {
		pinctrl_weim_cs0_1: weim_cs0grp-1 {
			fsl,pins = <
				MX6SX_PAD_NAND_ALE__WEIM_CS0_B       0xb0b1
			>;
		};

		pinctrl_weim_nor_1: weim_norgrp-1 {
			fsl,pins = <
				MX6SX_PAD_NAND_CE1_B__WEIM_OE        0xb0b1
				MX6SX_PAD_NAND_RE_B__WEIM_RW         0xb0b1
				MX6SX_PAD_NAND_WE_B__WEIM_WAIT       0xb060
				/* data */
				MX6SX_PAD_QSPI1A_SCLK__WEIM_DATA_0   0x1b0b0
				MX6SX_PAD_QSPI1A_SS0_B__WEIM_DATA_1  0x1b0b0
				MX6SX_PAD_QSPI1A_SS1_B__WEIM_DATA_2  0x1b0b0
				MX6SX_PAD_QSPI1A_DATA3__WEIM_DATA_3  0x1b0b0
				MX6SX_PAD_QSPI1A_DATA2__WEIM_DATA_4  0x1b0b0
				MX6SX_PAD_QSPI1A_DATA1__WEIM_DATA_5  0x1b0b0
				MX6SX_PAD_QSPI1A_DATA0__WEIM_DATA_6  0x1b0b0
				MX6SX_PAD_QSPI1A_DQS__WEIM_DATA_7    0x1b0b0
				MX6SX_PAD_QSPI1B_SCLK__WEIM_DATA_8   0x1b0b0
				MX6SX_PAD_QSPI1B_SS0_B__WEIM_DATA_9  0x1b0b0
				MX6SX_PAD_QSPI1B_SS1_B__WEIM_DATA_10 0x1b0b0
				MX6SX_PAD_QSPI1B_DATA3__WEIM_DATA_11 0x1b0b0
				MX6SX_PAD_QSPI1B_DATA2__WEIM_DATA_12 0x1b0b0
				MX6SX_PAD_QSPI1B_DATA1__WEIM_DATA_13 0x1b0b0
				MX6SX_PAD_QSPI1B_DATA0__WEIM_DATA_14 0x1b0b0
				MX6SX_PAD_QSPI1B_DQS__WEIM_DATA_15   0x1b0b0
				/* address */
				MX6SX_PAD_NAND_DATA00__WEIM_AD_0     0xb0b1
				MX6SX_PAD_NAND_DATA01__WEIM_AD_1     0xb0b1
				MX6SX_PAD_NAND_DATA02__WEIM_AD_2     0xb0b1
				MX6SX_PAD_NAND_DATA03__WEIM_AD_3     0xb0b1
				MX6SX_PAD_NAND_DATA04__WEIM_AD_4     0xb0b1
				MX6SX_PAD_NAND_DATA05__WEIM_AD_5     0xb0b1
				MX6SX_PAD_NAND_DATA06__WEIM_AD_6     0xb0b1
				MX6SX_PAD_NAND_DATA07__WEIM_AD_7     0xb0b1
				MX6SX_PAD_LCD1_DATA08__WEIM_AD_8     0xb0b1
				MX6SX_PAD_LCD1_DATA09__WEIM_AD_9     0xb0b1
				MX6SX_PAD_LCD1_DATA10__WEIM_AD_10    0xb0b1
				MX6SX_PAD_LCD1_DATA11__WEIM_AD_11    0xb0b1
				MX6SX_PAD_LCD1_DATA12__WEIM_AD_12    0xb0b1
				MX6SX_PAD_LCD1_DATA13__WEIM_AD_13    0xb0b1
				MX6SX_PAD_LCD1_DATA14__WEIM_AD_14    0xb0b1
				MX6SX_PAD_LCD1_DATA15__WEIM_AD_15    0xb0b1
				MX6SX_PAD_LCD1_DATA16__WEIM_ADDR_16  0xb0b1
				MX6SX_PAD_LCD1_DATA17__WEIM_ADDR_17  0xb0b1
				MX6SX_PAD_LCD1_DATA18__WEIM_ADDR_18  0xb0b1
				MX6SX_PAD_LCD1_DATA19__WEIM_ADDR_19  0xb0b1
				MX6SX_PAD_LCD1_DATA20__WEIM_ADDR_20  0xb0b1
				MX6SX_PAD_LCD1_DATA21__WEIM_ADDR_21  0xb0b1
				MX6SX_PAD_LCD1_DATA22__WEIM_ADDR_22  0xb0b1
				MX6SX_PAD_LCD1_DATA03__WEIM_ADDR_24  0xb0b1
				MX6SX_PAD_LCD1_DATA04__WEIM_ADDR_25  0xb0b1
				MX6SX_PAD_LCD1_DATA05__WEIM_ADDR_26  0xb0b1
			>;
		};
	};
};
